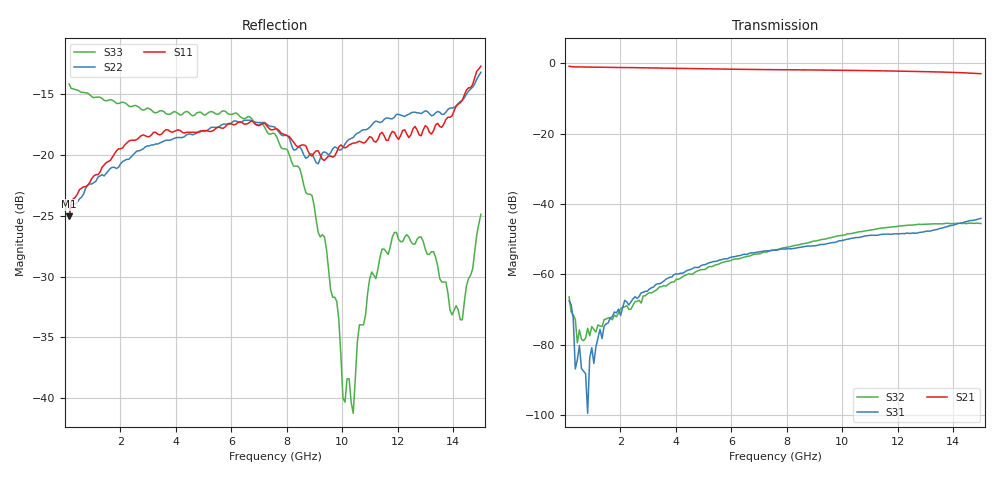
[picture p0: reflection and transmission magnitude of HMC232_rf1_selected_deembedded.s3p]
!Hittite Microwave Corporation
!12 Elizabeth Drive
!Chelmsford, MA 01824
!Tel: 978-250-3343
!Fax: 978-250-3373
!Device: HMC232, DC - 15 GHz GaAs MMIC Non-Reflective SPDT Switch
!Misc: Port1=RFC, Port2= RF1, Port3=RF2, RF1 ON, Control: -5VDC
# MHZ S MA R 50
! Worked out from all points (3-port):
!   201 points, 150 MHz to 15 GHz, reference 50 ohm
!   strongest paths, dB at 150 MHz, 3.862 GHz, 7.575 GHz, 11.29 GHz, 15 GHz:
!     S21: -0.8, -1.3, -1.8, -2.1, -2.9
!     S31: -67.5, -60.7, -53.1, -48.8, -44.1
!     S32: -66.4, -62.2, -53.1, -47.0, -45.5
!   lowest |S11| = -25.0 dB at 150 MHz (marker M1), VSWR 1.12, Z = 55.9 - j0.141 ohm
!   |S11| at or under -10 dB: start of sweep to end of sweep
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150  0.056 -1.3  0.918 -7.9  0.0003015 -32.9
     0.916 -7.9  0.055 -0.3  0.0004628 -26.1
     0.0004209 -33.4  0.0004786 -35.7  0.196 170.4
447  0.069 -25.0  0.895 -20.4  5.047e-05 -110.8
     0.894 -20.4  0.064 -26.3  0.0001465 -99.9
     6.123e-05 -88.9  0.0001061 -98.4  0.185 162.3
2080.5  0.107 -113.7  0.878 -92.0  0.0002878 52.9
        0.876 -91.9  0.094 -120.9  0.0002992 131.0
        0.0003334 54.5  0.0003417 145.3  0.165 97.5
4011  0.126 145.8  0.856 -176.4  0.0009922 0.4
      0.854 -176.4  0.118 132.0  0.0008502 48.8
      0.001016 1.9  0.0008521 48.9  0.15 19.3
5867.25  0.134 46.6  0.833 102.9  0.001705 -57.9
         0.831 102.9  0.134 28.7  0.001559 -26.7
         0.001668 -59.9  0.001536 -26.4  0.148 -49.3
7575  0.128 -19.7  0.819 28.7  0.002244 -115.0
      0.816 28.7  0.13 -43.6  0.002234 -91.2
      0.002217 -115.4  0.002205 -91.2  0.122 -101.5
10025.25  0.108 -48.5  0.801 -79.2  0.003084 177.0
          0.8 -79.1  0.107 -82.4  0.003637 179.3
          0.003043 176.4  0.003609 179.9  0.01 158.9
12178.5  0.126 -98.7  0.779 -175.2  0.003805 107.7
         0.777 -175.1  0.145 -150.8  0.004906 92.2
         0.003808 108.2  0.004914 92.1  0.044 -32.0
14331.75  0.168 157.8  0.74 87.2  0.005463 48.9
          0.738 87.3  0.168 130.0  0.005338 2.6
          0.005421 49.0  0.005279 2.9  0.021 169.0
15000  0.232 131.9  0.719 57.0  0.006223 24.3
       0.717 57.0  0.219 106.9  0.005392 -24.1
       0.006265 24.4  0.005292 -24.3  0.057 109.1
